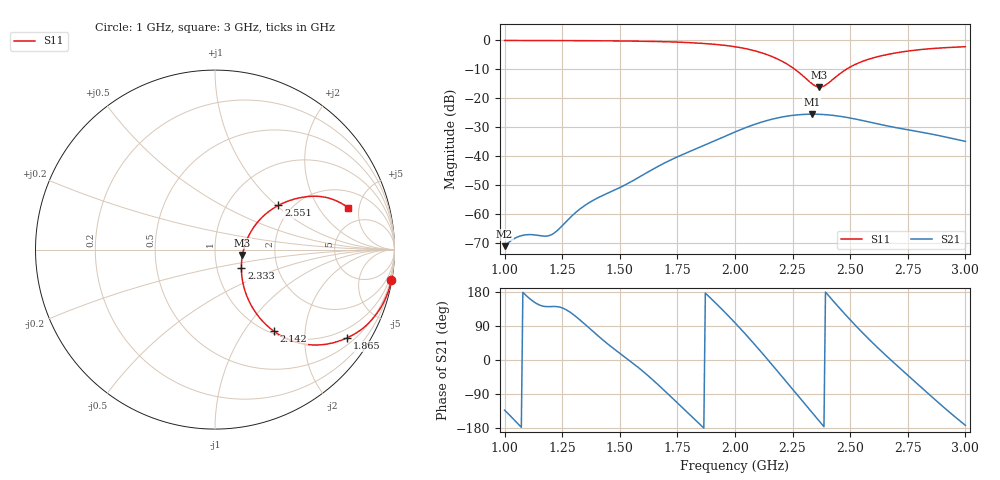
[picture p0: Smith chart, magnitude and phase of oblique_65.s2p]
! TOUCHSTONE file generated by CST MICROWAVE STUDIO
! Date and time: Tue Mar 18 00:01:27 2025
! Project name: oblique.cst
! Parameters = {Tilt=30; Fracture=1; B=12.5; D=160; F=5; Feed=2.85625; L=100; M=10; R=0.384908; S=2; Theta=180; length=57.125; wave=114.25}
! Header version: 2024
! Port assignment regex: !\s*Touchstone port\s*([0-9]+)\s*=\s*(CST MWS port|CST DES external port|CST DES block port)\s*(.+)\s* \(\"(.*)\"\)(\s*mode\s*([0-9]+))?.*
! Touchstone port assignment:
! Touchstone port 1 = CST MWS port 1 ("")
! Touchstone port 2 = CST MWS port 2 ("")
# GHz S DB R 50
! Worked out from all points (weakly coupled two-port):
!   304 points, 1 GHz to 3 GHz, reference 50 ohm
!   highest |S21| = -25.50 dB at 2.333 GHz (marker M1); lowest = -71.1 dB at 1 GHz (marker M2)
!   lowest |S11| = -16.1 dB at 2.366 GHz (marker M3), VSWR 1.37, Z = 67.9 - j4.23 ohm
!   |S11| at or under -10 dB: 2.26 GHz to 2.483 GHz (222.7 MHz wide, 9.39 % of centre)
!   S12 and S22 are empty: the file has one direction only
!   S11 on the Smith chart (normalised r, x): 1 GHz: 0, -12; 1.865 GHz: 0.70, -3.15; 2.142 GHz: 1.04, -1.38; 2.333 GHz: 1.31, -0.28; 2.551 GHz: 1.70, +1.03; 3 GHz: 3.26, +3.86
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1  -0.02 -9.8  -71.13 -132.4  -200.00 0.0  -200.00 0.0
1.0396  -0.02 -10.3  -68.61 -156.8  -200.00 0.0  -200.00 0.0
1.07921  -0.03 -10.9  -67.36 178.5  -200.00 0.0  -200.00 0.0
1.17822  -0.04 -12.4  -67.67 141.0  -200.00 0.0  -200.00 0.0
1.20462  -0.05 -12.8  -67.11 141.1  -200.00 0.0  -200.00 0.0
1.33663  -0.09 -15.3  -57.70 100.7  -200.00 0.0  -200.00 0.0
1.38944  -0.11 -16.4  -55.05 72.2  -200.00 0.0  -200.00 0.0
1.66667  -0.40 -24.4  -43.52 -65.4  -200.00 0.0  -200.00 0.0
1.86469  -1.07 -33.8  -36.33 -179.6  -200.00 0.0  -200.00 0.0
2.0033  -2.23 -43.4  -31.54 96.1  -200.00 0.0  -200.00 0.0
2.07591  -3.40 -49.3  -29.29 47.5  -200.00 0.0  -200.00 0.0
2.14191  -5.01 -54.2  -27.63 1.1  -200.00 0.0  -200.00 0.0
2.24092  -8.93 -56.9  -26.01 -70.7  -200.00 0.0  -200.00 0.0
2.33333  -14.92 -35.1  -25.50 -138.2  -200.00 0.0  -200.00 0.0
2.33993  -15.31 -31.0  -25.50 -142.9  -200.00 0.0  -200.00 0.0
2.36634  -16.15 -11.3  -25.55 -161.9  -200.00 0.0  -200.00 0.0
2.39274  -15.46 8.6  -25.67 179.3  -200.00 0.0  -200.00 0.0
2.45875  -11.30 32.1  -26.27 133.5  -200.00 0.0  -200.00 0.0
2.55116  -7.31 34.9  -27.66 73.3  -200.00 0.0  -200.00 0.0
2.66997  -4.73 30.4  -29.71 3.7  -200.00 0.0  -200.00 0.0
2.82838  -3.00 23.5  -32.01 -83.1  -200.00 0.0  -200.00 0.0
3  -2.18 17.5  -34.89 -172.5  -200.00 0.0  -200.00 0.0
